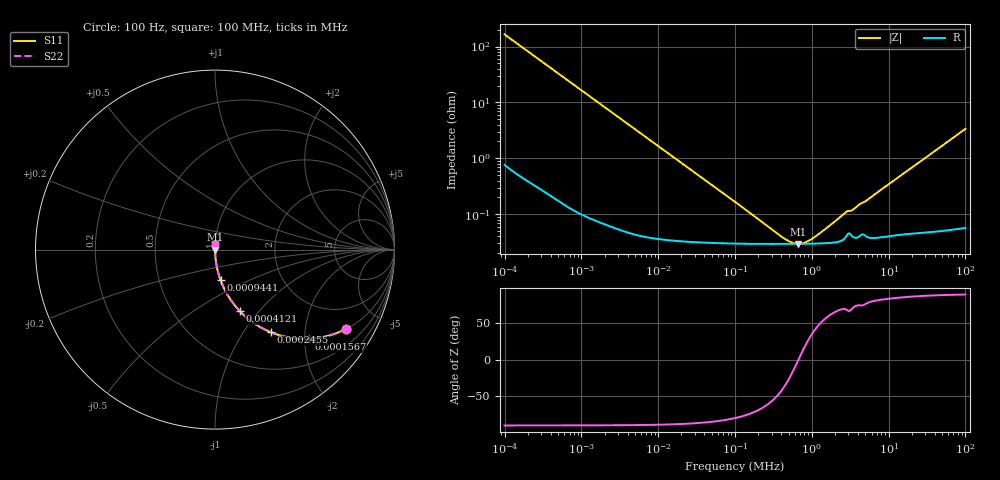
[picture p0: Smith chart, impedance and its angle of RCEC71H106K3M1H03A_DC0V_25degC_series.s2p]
!Murata Part Number: RCEC71H106K3M1H03A
!These Parameters are Measured in Series Mode Connection
!  o--ll--o
!Port1  Port2
!  o------o
!Operation Temp=25[degC], DC Bias Voltage=0[V]
!Freq. Start=100[Hz] Stop=100[MHz], 401[Steps]
!Data Generated on Feb 18, 2020
# Hz S RI R 50
!Freq.(Hz) S11(Real) S11(Imag) S21(Real) S21(Imag) S12(Real) S12(Imag) S22(Real) S22(Imag)
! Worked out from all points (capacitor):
!   401 points, 100 Hz to 100 MHz, reference 50 ohm
!   read as one part in series: C = 9.68 uF near 107.2 Hz
!   lowest |Z| = 29.4 mohm at 668.3 kHz (marker M1)
!   series resonance near 670.2 kHz, so ESL is about 5.8 nH
!   S11 on the Smith chart (normalised r, x): 100 Hz: 1.02, -3.29; 156.7 Hz: 1.01, -2.10; 245.5 Hz: 1.01, -1.34; 412.1 Hz: 1.00, -0.80; 944.1 Hz: 1.00, -0.35; 100 MHz: 1.00, +0.07
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100  0.7287 -0.4423  0.2713 0.4423  0.2713 0.4423  0.7287 -0.4423
156.6751  0.5241 -0.4971  0.4759 0.4971  0.4759 0.4971  0.5241 -0.4971
192.7525  0.4219 -0.4915  0.5781 0.4915  0.5781 0.4915  0.4219 -0.4915
245.4709  0.3112 -0.4606  0.6888 0.4606  0.6888 0.4606  0.3112 -0.4606
323.5937  0.2071 -0.4028  0.7929 0.4028  0.7929 0.4028  0.2071 -0.4028
412.0975  0.1393 -0.3437  0.8607 0.3437  0.8607 0.3437  0.1393 -0.3437
602.5596  0.071 -0.2542  0.929 0.2542  0.929 0.2542  0.071 -0.2542
944.0609  0.0307 -0.1695  0.9693 0.1695  0.9693 0.1695  0.0307 -0.1695
1011.579  0.0269 -0.1588  0.9731 0.1588  0.9731 0.1588  0.0269 -0.1588
2660.725  0.00443 -0.062  0.9956 0.062  0.9956 0.062  0.00443 -0.062
10232.93  0.000621 -0.0162  0.9994 0.0162  0.9994 0.0162  0.000621 -0.0162
100000  0.0003 -0.00164  0.9997 0.00164  0.9997 0.00164  0.0003 -0.00164
426579.5  0.000293 -0.000234  0.9997 0.000234  0.9997 0.000234  0.000293 -0.000234
543250.3  0.000294 -0.000106  0.9997 0.000106  0.9997 0.000106  0.000294 -0.000106
668343.9  0.000294 -1.37e-06  0.9997 1.37e-06  0.9997 1.37e-06  0.000294 -1.37e-06
822242.6  0.000295 0.000103  0.9997 -0.000103  0.9997 -0.000103  0.000295 0.000103
1011579  0.000296 0.000212  0.9997 -0.000212  0.9997 -0.000212  0.000296 0.000212
1531087  0.000302 0.000465  0.9997 -0.000465  0.9997 -0.000465  0.000302 0.000465
2754229  0.000388 0.00101  0.9996 -0.00101  0.9996 -0.00101  0.000388 0.00101
3507519  0.000386 0.00117  0.9996 -0.00117  0.9996 -0.00117  0.000386 0.00117
1.023293e7  0.000416 0.00349  0.9996 -0.00349  0.9996 -0.00349  0.000416 0.00349
1e8  0.00169 0.0335  0.9983 -0.0335  0.9983 -0.0335  0.00169 0.0335
